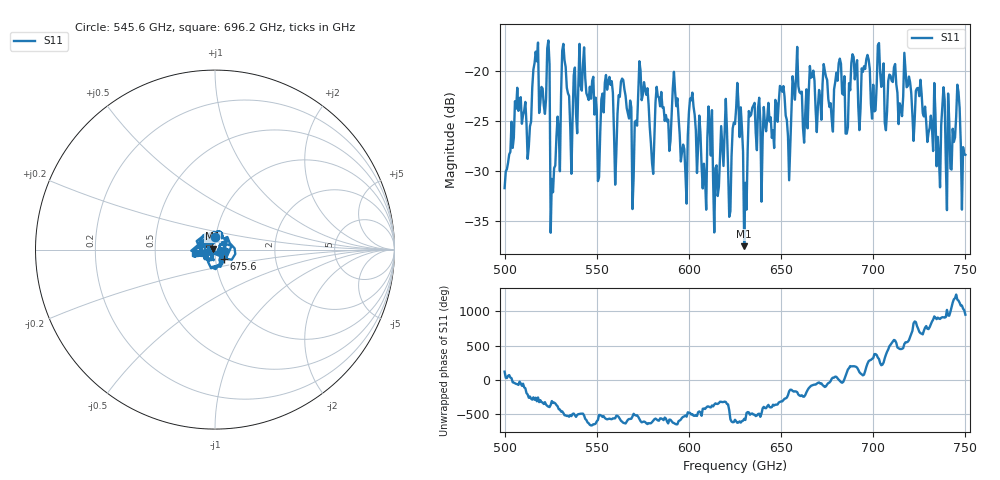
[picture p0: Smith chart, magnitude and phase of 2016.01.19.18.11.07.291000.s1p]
!Created with skrf (http://scikit-rf.org).
# GHz S RI R 50.0
!freq ReS11 ImS11
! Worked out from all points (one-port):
!   401 points, 500 GHz to 750 GHz, reference 50 ohm
!   lowest |S11| = -37.5 dB at 630 GHz (marker M1), VSWR 1.03, Z = 48.8 + j0.542 ohm
!   |S11| at or under -10 dB: start of sweep to end of sweep
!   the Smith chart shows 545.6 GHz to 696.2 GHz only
!   S11 on the Smith chart (normalised r, x): 545.6 GHz: 0.99, +0.14; 675.6 GHz: 1.10, -0.11; 696.2 GHz: 0.80, -0.03
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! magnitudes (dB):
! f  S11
! 500 GHz  -31.7
! 506.9 GHz  -21.7
! 513.1 GHz  -27.5
! 516.9 GHz  -18.0
! 523.1 GHz  -17.7
! 526.2 GHz  -32.1
! 531.2 GHz  -17.9
! 545.6 GHz  -22.9
! 551.2 GHz  -30.6
! 562.5 GHz  -22.6
! 570.6 GHz  -25.1
! 574.4 GHz  -22.9
! 580 GHz  -29.2
! 593.8 GHz  -22.7
! 597.5 GHz  -27.8
! 601.9 GHz  -22.1
! 608.1 GHz  -29.3
! 611.2 GHz  -25.4
! 615 GHz  -29.4
! 625 GHz  -25.3
! 630 GHz  -37.5
! 633.8 GHz  -24.3
! 656.2 GHz  -20.5
! 675.6 GHz  -22.8
! 687.5 GHz  -21.9
! 696.2 GHz  -18.8
! 718.8 GHz  -21.5
! 750 GHz  -28.4
